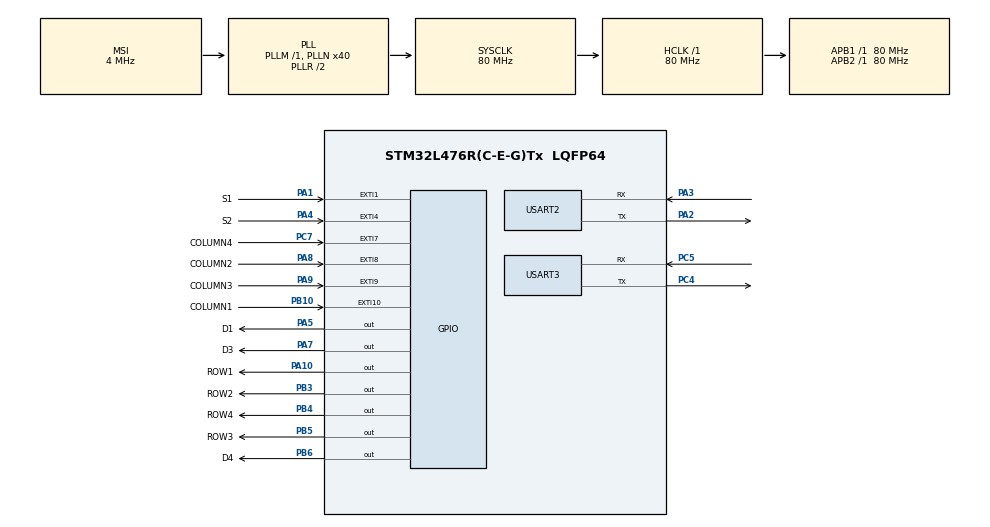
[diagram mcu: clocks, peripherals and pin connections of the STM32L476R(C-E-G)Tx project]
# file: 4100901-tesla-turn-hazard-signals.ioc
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Mcu.Family=STM32L4
Mcu.Name=STM32L476R(C-E-G)Tx
Mcu.Package=LQFP64
NVIC.EXTI15_10_IRQn=true\:0\:0\:false\:false\:true\:true\:true\:true
NVIC.EXTI1_IRQn=true\:0\:0\:false\:false\:true\:true\:true\:true
NVIC.EXTI4_IRQn=true\:0\:0\:false\:false\:true\:true\:true\:true
NVIC.EXTI9_5_IRQn=true\:0\:0\:false\:false\:true\:true\:true\:true
NVIC.PriorityGroup=NVIC_PRIORITYGROUP_4
NVIC.USART2_IRQn=true\:0\:0\:false\:false\:true\:true\:true\:true
NVIC.USART3_IRQn=true\:0\:0\:false\:false\:true\:true\:true\:true
PA1.GPIO_Label=S1
PA1.GPIO_ModeDefaultEXTI=GPIO_MODE_IT_FALLING
PA1.Signal=GPXTI1
PA10.GPIO_Label=ROW1
PA10.GPIO_ModeDefaultOutputPP=GPIO_MODE_OUTPUT_PP
PA10.GPIO_PuPd=GPIO_NOPULL
PA10.GPIO_Speed=GPIO_SPEED_FREQ_LOW
PA10.PinState=GPIO_PIN_SET
PA10.Signal=GPIO_Output
PA2.Mode=Asynchronous
PA2.Signal=USART2_TX
PA3.Mode=Asynchronous
PA3.Signal=USART2_RX
PA4.GPIO_Label=S2
PA4.GPIO_ModeDefaultEXTI=GPIO_MODE_IT_FALLING
PA4.Signal=GPXTI4
PA5.GPIO_Label=D1
PA5.PinState=GPIO_PIN_SET
PA5.Signal=GPIO_Output
PA7.GPIO_Label=D3
PA7.PinState=GPIO_PIN_SET
PA7.Signal=GPIO_Output
PA8.GPIO_Label=COLUMN2
PA8.GPIO_PuPd=GPIO_PULLDOWN
PA8.Signal=GPXTI8
PA9.GPIO_Label=COLUMN3
PA9.GPIO_PuPd=GPIO_PULLDOWN
PA9.Signal=GPXTI9
PB10.GPIO_Label=COLUMN1
PB10.GPIO_PuPd=GPIO_PULLDOWN
PB10.Signal=GPXTI10
PB3\ (JTDO-TRACESWO).GPIO_Label=ROW2
PB3\ (JTDO-TRACESWO).GPIO_ModeDefaultOutputPP=GPIO_MODE_OUTPUT_PP
PB3\ (JTDO-TRACESWO).GPIO_PuPd=GPIO_NOPULL
PB3\ (JTDO-TRACESWO).GPIO_Speed=GPIO_SPEED_FREQ_LOW
PB3\ (JTDO-TRACESWO).PinState=GPIO_PIN_SET
PB3\ (JTDO-TRACESWO).Signal=GPIO_Output
PB4\ (NJTRST).GPIO_Label=ROW4
PB4\ (NJTRST).GPIO_ModeDefaultOutputPP=GPIO_MODE_OUTPUT_PP
PB4\ (NJTRST).GPIO_PuPd=GPIO_NOPULL
PB4\ (NJTRST).GPIO_Speed=GPIO_SPEED_FREQ_LOW
PB4\ (NJTRST).PinState=GPIO_PIN_SET
PB4\ (NJTRST).Signal=GPIO_Output
PB5.GPIO_Label=ROW3
PB5.GPIO_ModeDefaultOutputPP=GPIO_MODE_OUTPUT_PP
PB5.GPIO_PuPd=GPIO_NOPULL
PB5.GPIO_Speed=GPIO_SPEED_FREQ_LOW
PB5.PinState=GPIO_PIN_SET
PB5.Signal=GPIO_Output
PB6.GPIO_Label=D4
PB6.PinState=GPIO_PIN_SET
PB6.Signal=GPIO_Output
PC4.Mode=Asynchronous
PC4.Signal=USART3_TX
PC5.Mode=Asynchronous
PC5.Signal=USART3_RX
PC7.GPIO_Label=COLUMN4
PC7.GPIO_PuPd=GPIO_PULLDOWN
PC7.Signal=GPXTI7
ProjectManager.HeapSize=0x200
ProjectManager.StackSize=0x400
ProjectManager.TargetToolchain=STM32CubeIDE
RCC.AHBFreq_Value=80000000
RCC.APB1Freq_Value=80000000
RCC.APB1TimFreq_Value=80000000
RCC.APB2Freq_Value=80000000
RCC.APB2TimFreq_Value=80000000
RCC.CortexFreq_Value=80000000
RCC.HCLKFreq_Value=80000000
RCC.HSE_VALUE=8000000
RCC.HSI_VALUE=16000000
RCC.LSE_VALUE=32768
RCC.MSI_VALUE=4000000
RCC.PLLN=40
RCC.SYSCLKFreq_VALUE=80000000
RCC.SYSCLKSource=RCC_SYSCLKSOURCE_PLLCLK
RCC.VCOOutputFreq_Value=160000000
USART2.VirtualMode-Asynchronous=VM_ASYNC
USART3.VirtualMode-Asynchronous=VM_ASYNC
board=custom

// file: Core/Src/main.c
/* USER CODE BEGIN Header */
/**
  ******************************************************************************
  * @file           : main.c
  * @brief          : Main program body
  ******************************************************************************
  * @attention
  *
  * Copyright (c) 2024 STMicroelectronics.
  * All rights reserved.
  *
  * This software is licensed under terms that can be found in the LICENSE file
  * in the root directory of this software component.
  * If no LICENSE file comes with this software, it is provided AS-IS.
  *
  ******************************************************************************
  */
/* USER CODE END Header */
#include "main.h"

/* USER CODE BEGIN Includes */
#include "ring_buffer.h"
/* USER CODE END Includes */

UART_HandleTypeDef huart2;
UART_HandleTypeDef huart3;

/* USER CODE BEGIN PV */
uint32_t left_toggles = 0;
uint32_t left_last_press_tick = 0;

uint8_t data_usart3;
uint8_t data_usart2;

/* control variables for ring buffer in USART */
#define CAPACITY_USART3 5
uint8_t mem_usart3[CAPACITY_USART3];
ring_buffer_t rb_usart3;

/* control variables for ring buffer in USART2 */
#define CAPACITY_USART2 10
uint8_t mem_usart2[CAPACITY_USART2];
ring_buffer_t rb_usart2;
/* USER CODE END PV */

void SystemClock_Config(void);
static void MX_GPIO_Init(void);
static void MX_USART2_UART_Init(void);
static void MX_USART3_UART_Init(void);
/* USER CODE BEGIN PFP */
void heartbeat(void);
/* USER CODE END PFP */

/* USER CODE BEGIN 0 */
void HAL_UART_RxCpltCallback(UART_HandleTypeDef *huart)
{
  /* Data received in USART3 */
  if (huart->Instance == USART3) {
	  ring_buffer_write(&rb_usart3, data_usart3);
	  HAL_UART_Receive_IT(&huart3, &data_usart3, 1);
  }
  /* Data received in USART2 */
  if (huart->Instance == USART2) {
	  ring_buffer_write(&rb_usart2, data_usart2); // put the data received in buffer
	  HAL_UART_Receive_IT(&huart2, &data_usart2, 1); // enable interrupt to continue receiving
  }
}
uint8_t key_pressed = 0xFF;
void HAL_GPIO_EXTI_Callback(uint16_t GPIO_Pin)
{
	static uint16_t last_pressed = 0xFFFF;
	static uint32_t last_tick = 0;

	if (last_pressed == GPIO_Pin)  {
		if (HAL_GetTick() < (last_tick + 200))	{
			return;
		}
	}
	uint8_t key_pressed = 0xFF;

	switch (GPIO_Pin) {
	case COLUMN1_Pin:
		HAL_GPIO_WritePin(ROW1_GPIO_Port, ROW1_Pin, GPIO_PIN_RESET);
		if(HAL_GPIO_ReadPin(COLUMN1_GPIO_Port, COLUMN1_Pin) == 0){
			key_pressed = '1';
			break;
		}
		HAL_GPIO_WritePin(ROW2_GPIO_Port, ROW2_Pin, GPIO_PIN_RESET);
		if(HAL_GPIO_ReadPin(COLUMN1_GPIO_Port, COLUMN1_Pin) == 0){
					key_pressed = '4';
					break;
		}
		HAL_GPIO_WritePin(ROW3_GPIO_Port, ROW3_Pin, GPIO_PIN_RESET);
		if(HAL_GPIO_ReadPin(COLUMN1_GPIO_Port, COLUMN1_Pin) == 0){
					key_pressed = '7';
					break;
		}
		HAL_GPIO_WritePin(ROW4_GPIO_Port, ROW4_Pin, GPIO_PIN_RESET);
		if(HAL_GPIO_ReadPin(COLUMN1_GPIO_Port, COLUMN1_Pin) == 0){
					key_pressed = '*';
					break;
		}
	case COLUMN2_Pin:
			HAL_GPIO_WritePin(ROW1_GPIO_Port, ROW1_Pin, GPIO_PIN_RESET);
			if(HAL_GPIO_ReadPin(COLUMN2_GPIO_Port, COLUMN2_Pin) == 0){
				key_pressed = '1';
				break;
			}
			HAL_GPIO_WritePin(ROW2_GPIO_Port, ROW2_Pin, GPIO_PIN_RESET);
			if(HAL_GPIO_ReadPin(COLUMN2_GPIO_Port, COLUMN2_Pin) == 0){
						key_pressed = '4';
						break;
			}
			HAL_GPIO_WritePin(ROW3_GPIO_Port, ROW3_Pin, GPIO_PIN_RESET);
			if(HAL_GPIO_ReadPin(COLUMN2_GPIO_Port, COLUMN2_Pin) == 0){
						key_pressed = '7';
						break;
			}
			HAL_GPIO_WritePin(ROW4_GPIO_Port, ROW4_Pin, GPIO_PIN_RESET);
			if(HAL_GPIO_ReadPin(COLUMN2_GPIO_Port, COLUMN2_Pin) == 0){
						key_pressed = '*';
						break;
			}
	case COLUMN3_Pin:
			HAL_GPIO_WritePin(ROW1_GPIO_Port, ROW1_Pin, GPIO_PIN_RESET);
			if(HAL_GPIO_ReadPin(COLUMN3_GPIO_Port, COLUMN3_Pin) == 0){
				key_pressed = '1';
				break;
			}
			HAL_GPIO_WritePin(ROW2_GPIO_Port, ROW2_Pin, GPIO_PIN_RESET);
			if(HAL_GPIO_ReadPin(COLUMN3_GPIO_Port, COLUMN3_Pin) == 0){
						key_pressed = '4';
						break;
			}
			HAL_GPIO_WritePin(ROW3_GPIO_Port, ROW3_Pin, GPIO_PIN_RESET);
			if(HAL_GPIO_ReadPin(COLUMN1_GPIO_Port, COLUMN1_Pin) == 0){
						key_pressed = '7';
						break;
			}
			HAL_GPIO_WritePin(ROW4_GPIO_Port, ROW4_Pin, GPIO_PIN_RESET);
			if(HAL_GPIO_ReadPin(COLUMN3_GPIO_Port, COLUMN3_Pin) == 0){
						key_pressed = '*';
						break;
			}
	case COLUMN4_Pin:
			HAL_GPIO_WritePin(ROW1_GPIO_Port, ROW1_Pin, GPIO_PIN_RESET);
			if(HAL_GPIO_ReadPin(COLUMN4_GPIO_Port, COLUMN4_Pin) == 0){
				key_pressed = '1';
				break;
			}
			HAL_GPIO_WritePin(ROW2_GPIO_Port, ROW2_Pin, GPIO_PIN_RESET);
			if(HAL_GPIO_ReadPin(COLUMN4_GPIO_Port, COLUMN4_Pin) == 0){
						key_pressed = '4';
						break;
			}
			HAL_GPIO_WritePin(ROW3_GPIO_Port, ROW3_Pin, GPIO_PIN_RESET);
			if(HAL_GPIO_ReadPin(COLUMN4_GPIO_Port, COLUMN4_Pin) == 0){
						key_pressed = '7';
						break;
			}
			HAL_GPIO_WritePin(ROW4_GPIO_Port, ROW4_Pin, GPIO_PIN_RESET);
			if(HAL_GPIO_ReadPin(COLUMN4_GPIO_Port, COLUMN4_Pin) == 0){
						key_pressed = '*';
						break;

			}
	default:
		break;
	}
	if (GPIO_Pin == S1_Pin) {
		HAL_UART_Transmit(&huart2, (uint8_t *)"S1\r\n", 4, 10);
		if (HAL_GetTick() < (left_last_press_tick + 300)) { // if last press was in the last 300ms
			left_toggles = 0xFFFFFF; // a long time toggling (infinite)
		} else {
			left_toggles = 6;
		}
		left_last_press_tick = HAL_GetTick();
	} else if (GPIO_Pin == S2_Pin) {
		left_toggles = 0;
	}
}

void heartbeat(void)
{
	static uint32_t heartbeat_tick = 0;
	if (heartbeat_tick < HAL_GetTick()) {
		heartbeat_tick = HAL_GetTick() + 500;
		HAL_GPIO_TogglePin(D1_GPIO_Port, D1_Pin);
	}
}

void turn_signal_left(void)
{
	static uint32_t turn_toggle_tick = 0;
	if (turn_toggle_tick < HAL_GetTick()) {
		if (left_toggles > 0) {
			turn_toggle_tick = HAL_GetTick() + 500;
			HAL_GPIO_TogglePin(D3_GPIO_Port, D3_Pin);
			left_toggles--;
		} else {
			HAL_GPIO_WritePin(D3_GPIO_Port, D3_Pin, 1);
		}

	}
}
/* USER CODE END 0 */

int main(void)
{

  /* MCU Configuration--------------------------------------------------------*/

  /* Reset of all peripherals, Initializes the Flash interface and the Systick. */
  HAL_Init();

  /* Configure the system clock */
  SystemClock_Config();

  /* Initialize all configured peripherals */
  MX_GPIO_Init();
  MX_USART2_UART_Init();
  MX_USART3_UART_Init();
  /* USER CODE BEGIN 2 */
  /* Initialize ring buffer (control, memory, and capacity) */
  ring_buffer_init(&rb_usart3, mem_usart3, CAPACITY_USART3);
  ring_buffer_init(&rb_usart2, mem_usart2, CAPACITY_USART2);
  /* USER CODE END 2 */

  /* Infinite loop */
  /* USER CODE BEGIN WHILE */
  /* Enable USART Rx interrupt to start receiving */
  HAL_UART_Receive_IT(&huart3, &data_usart3, 1);
  HAL_UART_Receive_IT(&huart2, &data_usart2, 1);
  while (1)
  {
	  uint8_t byte = 0;
	  if (ring_buffer_is_full(&rb_usart2) != 0) {
		  int8_t id_incorrect = 0;
		  char my_id[] = "1053821948";
		  for (uint8_t idx = 0; idx < sizeof(my_id); idx++) {
			  if (ring_buffer_read(&rb_usart2, &byte) != 0) { // 0x20
				  if (byte != my_id[idx]) {
					  id_incorrect = 1;
				  }
			  }
		  }
		  if (id_incorrect == 0) {
			  HAL_UART_Transmit(&huart2, "Sam C\r\n", 7, 10);
		  } else {
			  HAL_UART_Transmit(&huart2, "Error\r\n", 7, 10);
		  }
	  }
	  if (ring_buffer_is_empty(&rb_usart3) == 0) {
		  uint8_t data;
		  ring_buffer_read(&rb_usart3, &data);
		  HAL_UART_Transmit(&huart2, &data, 1, 10);
	  }
	  heartbeat();
	  turn_signal_left();

    /* USER CODE END WHILE */

  }
}

void SystemClock_Config(void)
{
  RCC_OscInitTypeDef RCC_OscInitStruct = {0};
  RCC_ClkInitTypeDef RCC_ClkInitStruct = {0};

  /** Configure the main internal regulator output voltage
  */
  if (HAL_PWREx_ControlVoltageScaling(PWR_REGULATOR_VOLTAGE_SCALE1) != HAL_OK)
  {
    Error_Handler();
  }

  /** Initializes the RCC Oscillators according to the specified parameters
  * in the RCC_OscInitTypeDef structure.
  */
  RCC_OscInitStruct.OscillatorType = RCC_OSCILLATORTYPE_MSI;
  RCC_OscInitStruct.MSIState = RCC_MSI_ON;
  RCC_OscInitStruct.MSICalibrationValue = 0;
  RCC_OscInitStruct.MSIClockRange = RCC_MSIRANGE_6;
  RCC_OscInitStruct.PLL.PLLState = RCC_PLL_ON;
  RCC_OscInitStruct.PLL.PLLSource = RCC_PLLSOURCE_MSI;
  RCC_OscInitStruct.PLL.PLLM = 1;
  RCC_OscInitStruct.PLL.PLLN = 40;
  RCC_OscInitStruct.PLL.PLLP = RCC_PLLP_DIV7;
  RCC_OscInitStruct.PLL.PLLQ = RCC_PLLQ_DIV2;
  RCC_OscInitStruct.PLL.PLLR = RCC_PLLR_DIV2;
  if (HAL_RCC_OscConfig(&RCC_OscInitStruct) != HAL_OK)
  {
    Error_Handler();
  }

  /** Initializes the CPU, AHB and APB buses clocks
  */
  RCC_ClkInitStruct.ClockType = RCC_CLOCKTYPE_HCLK|RCC_CLOCKTYPE_SYSCLK
                              |RCC_CLOCKTYPE_PCLK1|RCC_CLOCKTYPE_PCLK2;
  RCC_ClkInitStruct.SYSCLKSource = RCC_SYSCLKSOURCE_PLLCLK;
  RCC_ClkInitStruct.AHBCLKDivider = RCC_SYSCLK_DIV1;
  RCC_ClkInitStruct.APB1CLKDivider = RCC_HCLK_DIV1;
  RCC_ClkInitStruct.APB2CLKDivider = RCC_HCLK_DIV1;

  if (HAL_RCC_ClockConfig(&RCC_ClkInitStruct, FLASH_LATENCY_4) != HAL_OK)
  {
    Error_Handler();
  }
}

static void MX_USART2_UART_Init(void)
{

  huart2.Instance = USART2;
  huart2.Init.BaudRate = 115200;
  huart2.Init.WordLength = UART_WORDLENGTH_8B;
  huart2.Init.StopBits = UART_STOPBITS_1;
  huart2.Init.Parity = UART_PARITY_NONE;
  huart2.Init.Mode = UART_MODE_TX_RX;
  huart2.Init.HwFlowCtl = UART_HWCONTROL_NONE;
  huart2.Init.OverSampling = UART_OVERSAMPLING_16;
  huart2.Init.OneBitSampling = UART_ONE_BIT_SAMPLE_DISABLE;
  huart2.AdvancedInit.AdvFeatureInit = UART_ADVFEATURE_NO_INIT;
  if (HAL_UART_Init(&huart2) != HAL_OK)
  {
    Error_Handler();
  }

}

static void MX_USART3_UART_Init(void)
{

  huart3.Instance = USART3;
  huart3.Init.BaudRate = 115200;
  huart3.Init.WordLength = UART_WORDLENGTH_8B;
  huart3.Init.StopBits = UART_STOPBITS_1;
  huart3.Init.Parity = UART_PARITY_NONE;
  huart3.Init.Mode = UART_MODE_TX_RX;
  huart3.Init.HwFlowCtl = UART_HWCONTROL_NONE;
  huart3.Init.OverSampling = UART_OVERSAMPLING_16;
  huart3.Init.OneBitSampling = UART_ONE_BIT_SAMPLE_DISABLE;
  huart3.AdvancedInit.AdvFeatureInit = UART_ADVFEATURE_NO_INIT;
  if (HAL_UART_Init(&huart3) != HAL_OK)
  {
    Error_Handler();
  }

}

static void MX_GPIO_Init(void)
{
  GPIO_InitTypeDef GPIO_InitStruct = {0};

  /* GPIO Ports Clock Enable */
  __HAL_RCC_GPIOA_CLK_ENABLE();
  __HAL_RCC_GPIOC_CLK_ENABLE();
  __HAL_RCC_GPIOB_CLK_ENABLE();

  /*Configure GPIO pin Output Level */
  HAL_GPIO_WritePin(GPIOA, D1_Pin|D3_Pin|ROW1_Pin, GPIO_PIN_SET);

  /*Configure GPIO pin Output Level */
  HAL_GPIO_WritePin(GPIOB, ROW2_Pin|ROW4_Pin|ROW3_Pin|D4_Pin, GPIO_PIN_SET);

  /*Configure GPIO pins : S1_Pin S2_Pin */
  GPIO_InitStruct.Pin = S1_Pin|S2_Pin;
  GPIO_InitStruct.Mode = GPIO_MODE_IT_FALLING;
  GPIO_InitStruct.Pull = GPIO_NOPULL;
  HAL_GPIO_Init(GPIOA, &GPIO_InitStruct);

  /*Configure GPIO pins : D1_Pin D3_Pin ROW1_Pin */
  GPIO_InitStruct.Pin = D1_Pin|D3_Pin|ROW1_Pin;
  GPIO_InitStruct.Mode = GPIO_MODE_OUTPUT_PP;
  GPIO_InitStruct.Pull = GPIO_NOPULL;
  GPIO_InitStruct.Speed = GPIO_SPEED_FREQ_LOW;
  HAL_GPIO_Init(GPIOA, &GPIO_InitStruct);

  /*Configure GPIO pin : COLUMN1_Pin */
  GPIO_InitStruct.Pin = COLUMN1_Pin;
  GPIO_InitStruct.Mode = GPIO_MODE_IT_RISING;
  GPIO_InitStruct.Pull = GPIO_PULLDOWN;
  HAL_GPIO_Init(COLUMN1_GPIO_Port, &GPIO_InitStruct);

  /*Configure GPIO pin : COLUMN4_Pin */
  GPIO_InitStruct.Pin = COLUMN4_Pin;
  GPIO_InitStruct.Mode = GPIO_MODE_IT_RISING;
  GPIO_InitStruct.Pull = GPIO_PULLDOWN;
  HAL_GPIO_Init(COLUMN4_GPIO_Port, &GPIO_InitStruct);

  /*Configure GPIO pins : COLUMN2_Pin COLUMN3_Pin */
  GPIO_InitStruct.Pin = COLUMN2_Pin|COLUMN3_Pin;
  GPIO_InitStruct.Mode = GPIO_MODE_IT_RISING;
  GPIO_InitStruct.Pull = GPIO_PULLDOWN;
  HAL_GPIO_Init(GPIOA, &GPIO_InitStruct);

  /*Configure GPIO pins : ROW2_Pin ROW4_Pin ROW3_Pin D4_Pin */
  GPIO_InitStruct.Pin = ROW2_Pin|ROW4_Pin|ROW3_Pin|D4_Pin;
  GPIO_InitStruct.Mode = GPIO_MODE_OUTPUT_PP;
  GPIO_InitStruct.Pull = GPIO_NOPULL;
  GPIO_InitStruct.Speed = GPIO_SPEED_FREQ_LOW;
  HAL_GPIO_Init(GPIOB, &GPIO_InitStruct);

  /* EXTI interrupt init*/
  HAL_NVIC_SetPriority(EXTI1_IRQn, 0, 0);
  HAL_NVIC_EnableIRQ(EXTI1_IRQn);

  HAL_NVIC_SetPriority(EXTI4_IRQn, 0, 0);
  HAL_NVIC_EnableIRQ(EXTI4_IRQn);

  HAL_NVIC_SetPriority(EXTI9_5_IRQn, 0, 0);
  HAL_NVIC_EnableIRQ(EXTI9_5_IRQn);

  HAL_NVIC_SetPriority(EXTI15_10_IRQn, 0, 0);
  HAL_NVIC_EnableIRQ(EXTI15_10_IRQn);

}

void Error_Handler(void)
{
  __disable_irq();
  while (1)
  {
  }
}
